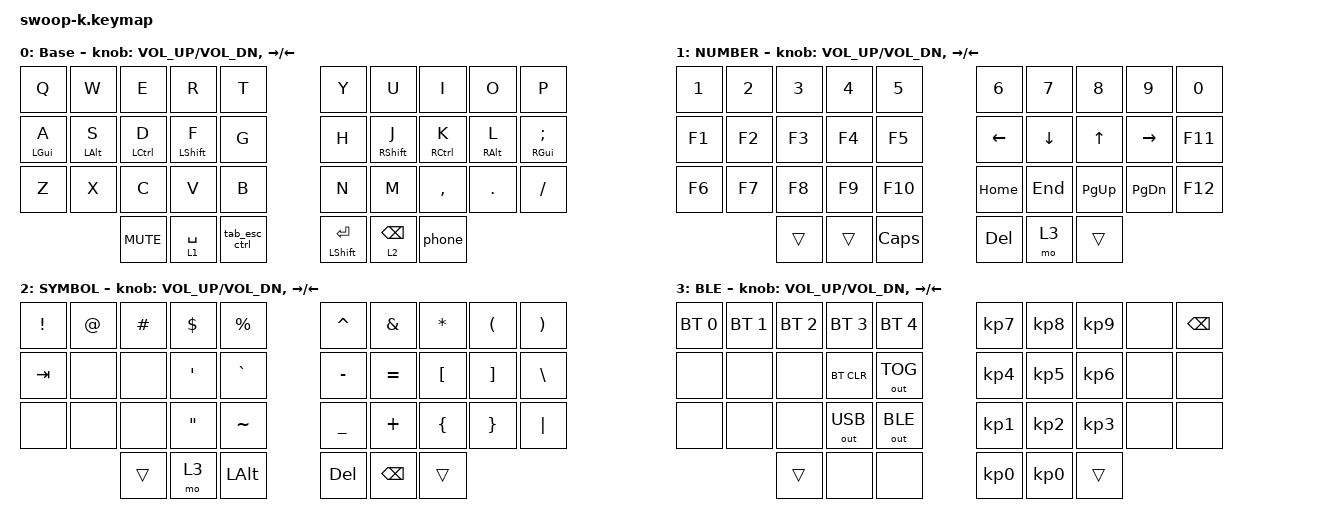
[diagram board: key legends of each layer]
/*
 * Copyright (c) 2020 duckyb
 *
 * SPDX-License-Identifier: MIT
 */

#include <behaviors.dtsi>
#include <dt-bindings/zmk/keys.h>
#include <dt-bindings/zmk/bt.h>
#include <dt-bindings/zmk/outputs.h>

/ {
    behaviors {
        tab_esc_ctrl: tab_esc_ctrl {
            compatible = "zmk,behavior-tap-dance";
            label = "TAB_ESC_CTRL";
            #binding-cells = <0>;
            bindings =
                <&mt LCTRL ESC>,
                <&kp TAB>;
        };
        gqt: global-quick-tap {
            compatible = "zmk,behavior-hold-tap";
            label = "GLOBAL_QUICK_TAP";
            bindings =
                <&kp>,
                <&kp>;

            #binding-cells = <2>;
            quick-tap-ms = <180>;
            tapping-term-ms = <200>;
            global-quick-tap;
        };
        ltq: ltq {
            compatible = "zmk,behavior-hold-tap";
            label = "LTQ";
            bindings =
                <&mo>,
                <&kp>;

            #binding-cells = <2>;
            global-quick-tap;
            tapping-term-ms = <200>;
            quick-tap-ms = <180>;
        };
    };

    combos {
        compatible = "zmk,combos";

        left_parenthesis {
            bindings = <&kp LEFT_PARENTHESIS>;
            key-positions = <3 4>;
            timeout-ms = <50>;
        };

        right_parenthesis {
            bindings = <&kp RIGHT_PARENTHESIS>;
            key-positions = <5 6>;
            timeout-ms = <50>;
        };

        left_bracket {
            bindings = <&kp LEFT_BRACKET>;
            key-positions = <13 14>;
            timeout-ms = <50>;
        };

        right_bracket {
            bindings = <&kp RIGHT_BRACKET>;
            key-positions = <16 15>;
            timeout-ms = <50>;
        };

        left_brace {
            bindings = <&kp LEFT_BRACE>;
            key-positions = <23 24>;
            timeout-ms = <50>;
        };

        new_combo {
            bindings = <&kp RIGHT_BRACE>;
            key-positions = <25 26>;
            timeout-ms = <50>;
        };
    };

    macros {
        phone: phone {
            compatible = "zmk,behavior-macro";
            label = "PHONE";
            #binding-cells = <0>;
            bindings = <&kp N1 &kp N8 &kp N5 &kp N6 &kp N8 &kp N2 &kp N7 &kp N6 &kp N1 &kp N9 &kp N6>;
        };
    };

    keymap {
        compatible = "zmk,keymap";

        base {
            label = "Base";
            bindings = <
      &kp Q        &kp W         &kp E         &kp R          &kp T               &kp Y             &kp U         &kp I        &kp O           &kp P
&gqt LGUI A  &gqt LALT S  &gqt LCTRL D  &gqt LSHFT F          &kp G               &kp H      &gqt RSHFT J  &gqt RCTRL K  &gqt RALT L  &gqt RGUI SEMI
      &kp Z        &kp X         &kp C         &kp V          &kp B               &kp N             &kp M     &kp COMMA      &kp DOT        &kp FSLH
                            &kp C_MUTE   &lt 1 SPACE  &tab_esc_ctrl    &mt LSHIFT ENTER  &ltq 2 BACKSPACE        &phone
            >;

            sensor-bindings = <&inc_dec_kp C_VOL_UP C_VOL_DN &inc_dec_kp RIGHT LEFT>;
        };

        number {
            label = "NUMBER";
            bindings = <
&kp N1  &kp N2  &kp N3  &kp N4    &kp N5      &kp N6    &kp N7     &kp N8     &kp N9   &kp N0
&kp F1  &kp F2  &kp F3  &kp F4    &kp F5    &kp LEFT  &kp DOWN     &kp UP  &kp RIGHT  &kp F11
&kp F6  &kp F7  &kp F8  &kp F9   &kp F10    &kp HOME   &kp END  &kp PG_UP  &kp PG_DN  &kp F12
                &trans  &trans  &kp CAPS     &kp DEL     &mo 3     &trans
            >;

            sensor-bindings = <&inc_dec_kp C_VOL_UP C_VOL_DN &inc_dec_kp RIGHT LEFT>;
        };

        symbol {
            label = "SYMBOL";
            bindings = <
&kp EXCL  &kp AT  &kp HASH           &kp DLLR     &kp PRCNT    &kp CARET       &kp AMPS        &kp STAR  &kp LEFT_PARENTHESIS  &kp RIGHT_PARENTHESIS
 &kp TAB   &none     &none            &kp SQT     &kp GRAVE    &kp MINUS      &kp EQUAL        &kp LBKT     &kp RIGHT_BRACKET               &kp BSLH
   &none   &none     &none  &kp DOUBLE_QUOTES     &kp TILDE    &kp UNDER       &kp PLUS  &kp LEFT_BRACE       &kp RIGHT_BRACE               &kp PIPE
                    &trans              &mo 3  &kp LEFT_ALT      &kp DEL  &kp BACKSPACE          &trans
            >;

            sensor-bindings = <&inc_dec_kp C_VOL_UP C_VOL_DN &inc_dec_kp RIGHT LEFT>;
        };

        ble {
            label = "BLE";
            bindings = <
&bt BT_SEL 0  &bt BT_SEL 1  &bt BT_SEL 2  &bt BT_SEL 3  &bt BT_SEL 4    &kp KP_N7  &kp KP_N8  &kp KP_N9  &none  &kp BSPC
       &none         &none         &none    &bt BT_CLR  &out OUT_TOG    &kp KP_N4  &kp KP_N5  &kp KP_N6  &none     &none
       &none         &none         &none  &out OUT_USB  &out OUT_BLE    &kp KP_N1  &kp KP_N2  &kp KP_N3  &none     &none
                                  &trans         &none         &none    &kp KP_N0  &kp KP_N0     &trans
            >;

            sensor-bindings = <&inc_dec_kp C_VOL_UP C_VOL_DN &inc_dec_kp RIGHT LEFT>;
        };
    };
};
